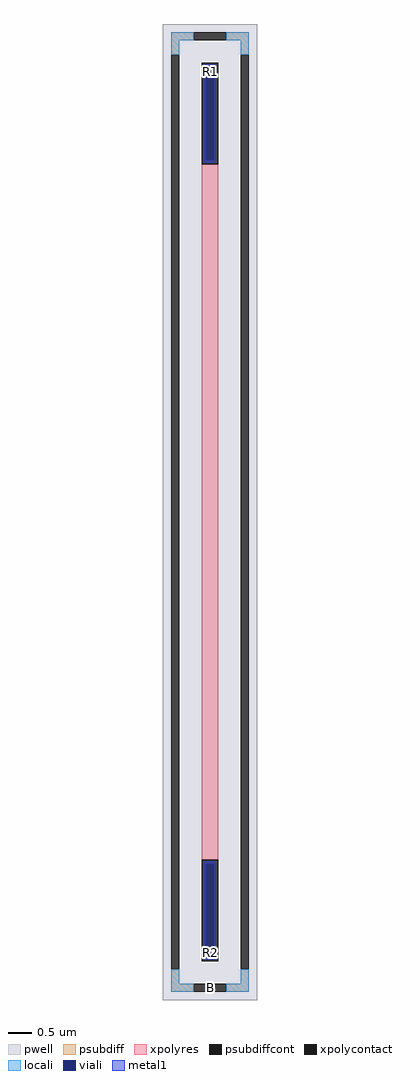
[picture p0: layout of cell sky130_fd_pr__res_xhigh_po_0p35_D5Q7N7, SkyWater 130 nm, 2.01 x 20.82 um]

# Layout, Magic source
magic
tech sky130A
magscale 1 2
<< pwell >>
rect -201 -2082 201 2082
<< psubdiff >>
rect -165 2012 -69 2046
rect 69 2012 165 2046
rect -165 1950 -131 2012
rect 131 1950 165 2012
rect -165 -2012 -131 -1950
rect 131 -2012 165 -1950
rect -165 -2046 -69 -2012
rect 69 -2046 165 -2012
<< psubdiffcont >>
rect -69 2012 69 2046
rect -165 -1950 -131 1950
rect 131 -1950 165 1950
rect -69 -2046 69 -2012
<< xpolycontact >>
rect -35 1484 35 1916
rect -35 -1916 35 -1484
<< xpolyres >>
rect -35 -1484 35 1484
<< locali >>
rect -165 2012 -69 2046
rect 69 2012 165 2046
rect -165 1950 -131 2012
rect 131 1950 165 2012
rect -165 -2012 -131 -1950
rect 131 -2012 165 -1950
rect -165 -2046 -69 -2012
rect 69 -2046 165 -2012
<< viali >>
rect -19 1501 19 1898
rect -19 -1898 19 -1501
<< metal1 >>
rect -25 1898 25 1910
rect -25 1501 -19 1898
rect 19 1501 25 1898
rect -25 1489 25 1501
rect -25 -1501 25 -1489
rect -25 -1898 -19 -1501
rect 19 -1898 25 -1501
rect -25 -1910 25 -1898
<< labels >>
rlabel psubdiffcont 0 -2029 0 -2029 0 B
port 1 nsew
rlabel xpolycontact 0 1881 0 1881 0 R1
port 2 nsew
rlabel xpolycontact 0 -1881 0 -1881 0 R2
port 3 nsew
<< properties >>
string FIXED_BBOX -148 -2029 148 2029
string gencell sky130_fd_pr__res_xhigh_po_0p35
string library sky130
string parameters w 0.350 l 15 m 1 nx 1 wmin 0.350 lmin 0.50 class resistor rho 2000 val 86.789k dummy 0 dw 0.0 term 188.2 sterm 0.0 caplen 0 wmax 0.350 guard 1 glc 1 grc 1 gtc 1 gbc 1 compatible {sky130_fd_pr__res_xhigh_po_0p35  sky130_fd_pr__res_xhigh_po_0p69 sky130_fd_pr__res_xhigh_po_1p41  sky130_fd_pr__res_xhigh_po_2p85 sky130_fd_pr__res_xhigh_po_5p73} snake 0 full_metal 1 n_guard 0 hv_guard 0 vias 1 viagb 0 viagt 0 viagl 0 viagr 0 doports 1
<< end >>
